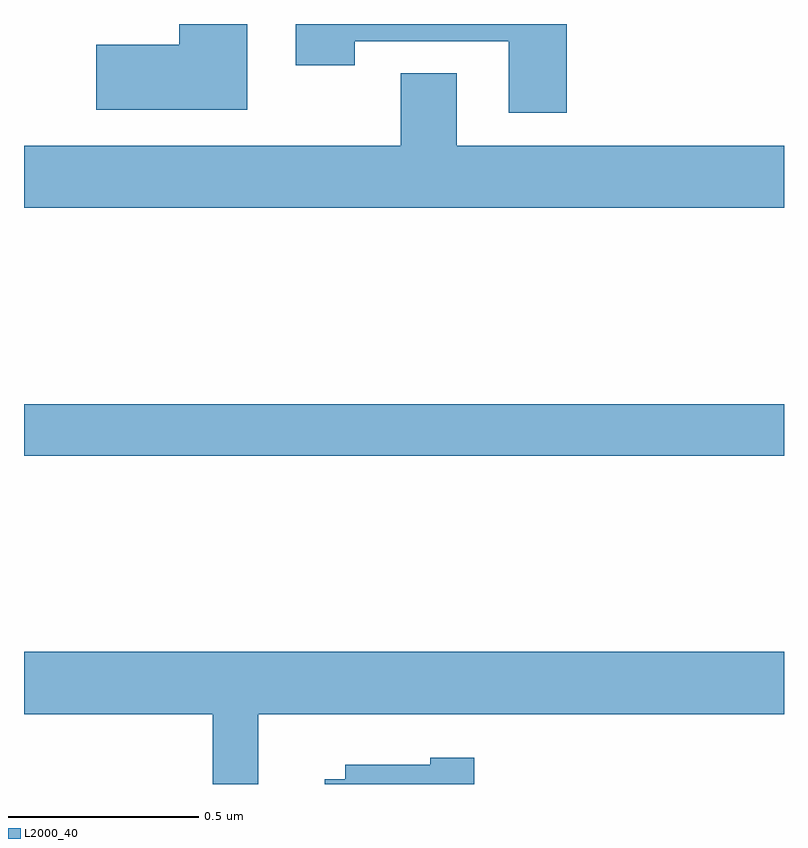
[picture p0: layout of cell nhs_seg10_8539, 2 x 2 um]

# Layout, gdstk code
import gdstk
lib = gdstk.Library(unit=1e-6, precision=1e-09)
def R(c, l, rs):  # rectangles x0, y0, x1, y1
    for r in rs: c.add(gdstk.rectangle(r[:2], r[2:], *l))
def P(c, l, *ps):  # polygons
    for p in ps: c.add(gdstk.Polygon(p, *l))
L2000_40 = (2000, 40)

nhs_seg10_8539 = lib.new_cell('nhs_seg10_8539')
R(nhs_seg10_8539, L2000_40, [(218,1266.364,220,1266.5)])
P(nhs_seg10_8539, L2000_40, [(218.587,1267.5),(218.408,1267.5),(218.408,1267.445),(218.19,1267.445),(218.19,1267.274),(218.587,1267.274)],
  [(219.428,1267.5),(218.715,1267.5),(218.715,1267.392),(218.871,1267.392),(218.871,1267.455),(219.275,1267.455),(219.275,1267.266),(219.428,1267.266)],
  [(220,1267.18),(219.139,1267.18),(219.139,1267.37),(218.992,1267.37),(218.992,1267.18),(218,1267.18),(218,1267.016),(220,1267.016)],
  [(218.616,1265.684),(220,1265.684),(220,1265.848),(218,1265.848),(218,1265.684),(218.497,1265.684),(218.497,1265.5),(218.616,1265.5)],
  [(219.185,1265.569),(219.069,1265.569),(219.069,1265.551),(218.846,1265.551),(218.846,1265.512),(218.792,1265.512),(218.792,1265.5),(219.185,1265.5)])

lib.write_gds('nhs_seg10_8539.gds')
